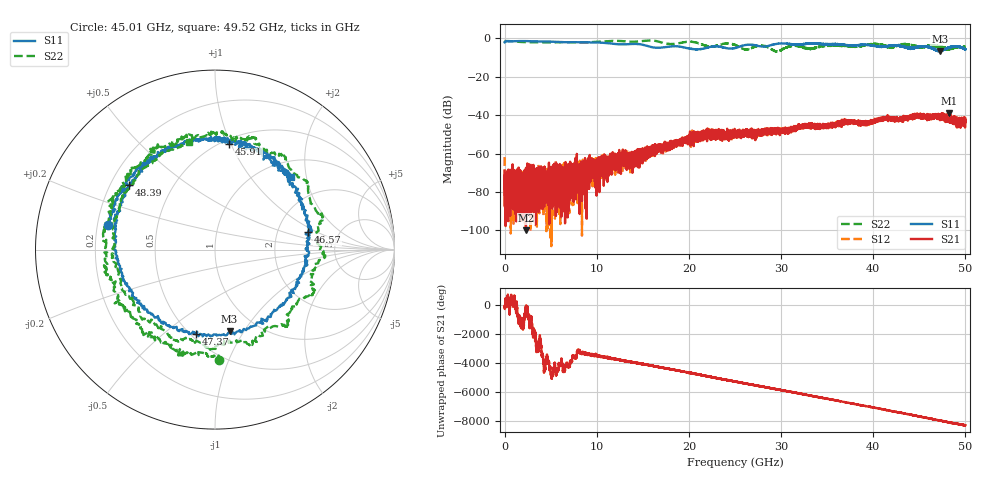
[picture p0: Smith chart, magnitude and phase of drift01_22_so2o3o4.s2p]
!Created with skrf (http://scikit-rf.org).
# Hz S RI R 50.0
!freq ReS11 ImS11 ReS21 ImS21 ReS12 ImS12 ReS22 ImS22
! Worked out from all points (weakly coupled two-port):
!   10001 points, 300 kHz to 50 GHz, reference 50 ohm
!   highest |S21| = -38.78 dB at 48.25 GHz (marker M1); lowest = -99.9 dB at 2.315 GHz (marker M2)
!   lowest |S11| = -6.7 dB at 47.22 GHz (marker M3), VSWR 2.72, Z = 37.4 - j43.3 ohm
!   |S11| at or under -10 dB: nowhere
!   |S22| runs from -6.8 to -1.0 dB; largest |S21 - S12| = 0.0037
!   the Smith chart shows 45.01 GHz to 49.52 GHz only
!   S11 on the Smith chart (normalised r, x): 45.01 GHz: 0.24, +0.11; 45.91 GHz: 0.54, +0.98; 46.57 GHz: 2.99, +0.80; 47.37 GHz: 0.53, -0.65; 48.39 GHz: 0.28, +0.31; 49.52 GHz: 1.32, +1.64
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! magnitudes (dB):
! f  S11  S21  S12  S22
! 300 kHz  -2.0  -68.7  -61.8  -1.3
! 265.3 MHz  -1.4  -72.1  -75.8  -1.4
! 2.315 GHz  -1.4  -99.9  -72.7  -1.9
! 6.005 GHz  -1.8  -78.4  -78.6  -1.9
! 8.335 GHz  -1.9  -76.2  -66.5  -2.1
! 16.67 GHz  -4.8  -56.3  -58.5  -1.6
! 21.98 GHz  -4.8  -49.3  -49.9  -4.0
! 25 GHz  -5.0  -49.4  -50.7  -3.3
! 28.13 GHz  -4.3  -48.5  -48.6  -3.9
! 29.51 GHz  -2.8  -48.5  -48.4  -6.7
! 31.29 GHz  -3.1  -48.3  -46.9  -3.9
! 33.34 GHz  -2.6  -44.8  -44.7  -5.3
! 41.67 GHz  -3.9  -41.7  -41.7  -4.6
! 45.01 GHz  -4.2  -40.1  -40.5  -4.2
! 45.91 GHz  -4.6  -40.4  -41.5  -4.1
! 46.57 GHz  -5.6  -39.9  -41.1  -3.9
! 47.22 GHz  -6.7  -40.3  -41.2  -4.5
! 47.37 GHz  -6.3  -40.9  -40.7  -4.7
! 48.25 GHz  -4.7  -38.8  -41.8  -5.2
! 48.39 GHz  -4.4  -41.6  -42.3  -5.6
! 49.52 GHz  -4.6  -43.3  -43.2  -4.2
! 50 GHz  -5.6  -41.7  -43.7  -4.2
